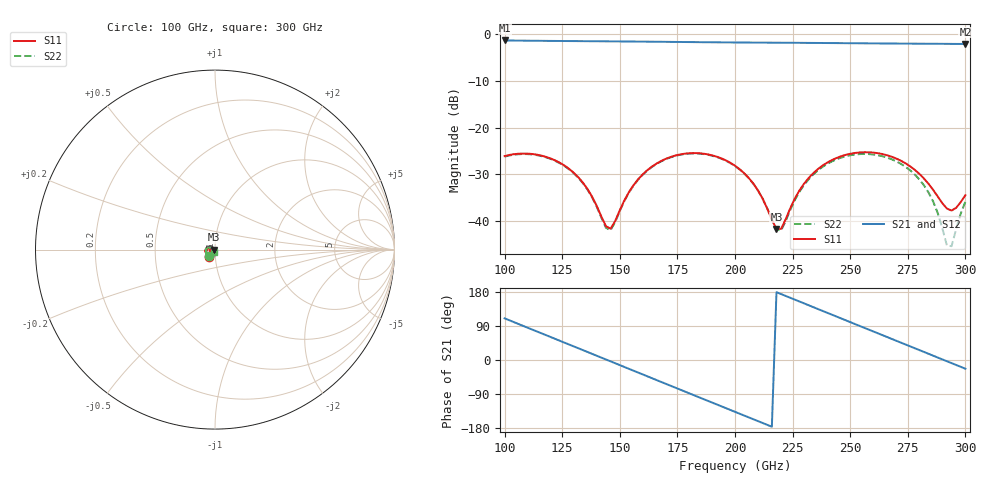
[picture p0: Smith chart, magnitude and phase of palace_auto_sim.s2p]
#  GHZ S DB R 50
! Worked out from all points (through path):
!   101 points, 100 GHz to 300 GHz, reference 50 ohm
!   highest |S21| = -1.38 dB at 100 GHz (marker M1); lowest = -2.1 dB at 300 GHz (marker M2)
!   group delay of S21, straight-line fit = 6.85 ps
!   lowest |S11| = -41.7 dB at 218 GHz (marker M3), VSWR 1.02, Z = 49.2 - j0.0297 ohm
!   |S11| at or under -10 dB: start of sweep to end of sweep
!   |S22| runs from -45.4 to -25.5 dB; largest |S21 - S12| = 1.5e-13
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100  -26.09 -128.5  -1.38 109.9  -1.38 109.9  -26.21 -130.0
116  -26.00 -165.7  -1.46 70.4  -1.46 70.4  -26.11 -167.2
126  -28.13 172.9  -1.50 45.8  -1.50 45.8  -28.24 171.3
134  -31.79 160.0  -1.53 26.0  -1.53 26.0  -31.91 158.2
144  -41.11 -174.0  -1.57 1.3  -1.57 1.3  -41.45 -175.7
146  -41.61 -148.8  -1.57 -3.6  -1.57 -3.6  -41.95 -149.5
156  -32.28 -111.6  -1.61 -28.3  -1.61 -28.3  -32.38 -112.5
168  -27.14 -131.2  -1.67 -58.0  -1.67 -58.0  -27.22 -132.5
184  -25.48 -165.6  -1.74 -97.4  -1.74 -97.4  -25.56 -167.4
200  -28.17 160.9  -1.81 -136.8  -1.81 -136.8  -28.23 158.6
210  -33.46 147.9  -1.84 -161.4  -1.84 -161.4  -33.49 144.9
218  -41.69 -177.9  -1.86 178.9  -1.86 178.9  -41.85 176.9
220  -41.65 -150.9  -1.87 174.0  -1.87 174.0  -42.00 -155.8
228  -33.42 -117.4  -1.89 154.3  -1.89 154.3  -33.72 -120.7
234  -29.75 -123.2  -1.91 139.5  -1.91 139.5  -30.02 -126.9
252  -25.44 -157.1  -1.98 95.1  -1.98 95.1  -25.77 -162.4
268  -26.24 171.3  -2.04 55.7  -2.04 55.7  -26.79 162.9
282  -30.89 152.0  -2.08 21.3  -2.08 21.3  -32.35 136.3
288  -34.75 156.7  -2.10 6.5  -2.10 6.5  -38.29 134.5
292  -37.34 175.2  -2.11 -3.3  -2.11 -3.3  -45.25 166.2
294  -37.74 -169.9  -2.11 -8.3  -2.11 -8.3  -45.36 -150.0
300  -34.46 -138.5  -2.13 -23.0  -2.13 -23.0  -35.85 -115.4
